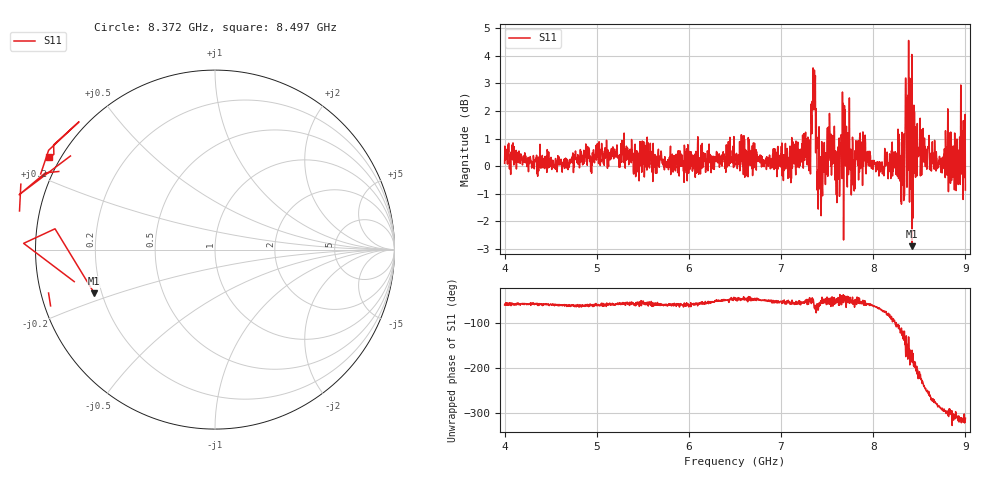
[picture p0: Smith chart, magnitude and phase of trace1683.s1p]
! Created with skrf 1.8.0 (http://scikit-rf.org).
# Hz S RI R 50.0
!freq ReS11 ImS11
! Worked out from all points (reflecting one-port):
!   1601 points, 4 GHz to 9 GHz, reference 50 ohm
!   lowest |S11| = -2.9 dB at 8.422 GHz (marker M1), VSWR 6.02, Z = 8.55 - j8.53 ohm
!   phase of S11 starts at -59 deg and turns -253 deg over the sweep
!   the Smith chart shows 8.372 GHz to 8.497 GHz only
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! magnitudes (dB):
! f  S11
! 4 GHz  0.1
! 4.625 GHz  -0.2
! 5.25 GHz  0.0
! 5.875 GHz  0.3
! 6.5 GHz  0.4
! 7.125 GHz  0.2
! 7.294 GHz  0.7
! 7.347 GHz  3.6
! 7.362 GHz  3.5
! 7.409 GHz  -0.2
! 7.428 GHz  0.3
! 7.538 GHz  0.9
! 7.609 GHz  0.4
! 7.669 GHz  0.6
! 7.75 GHz  -0.1
! 7.784 GHz  0.0
! 7.834 GHz  0.7
! 8.097 GHz  0.1
! 8.259 GHz  0.4
! 8.316 GHz  0.2
! 8.359 GHz  2.1
! 8.375 GHz  1.2
! 8.394 GHz  -1.3
! 8.412 GHz  1.7
! 8.422 GHz  -2.9
! 8.722 GHz  0.1
! 8.972 GHz  0.0
! 9 GHz  -0.9
